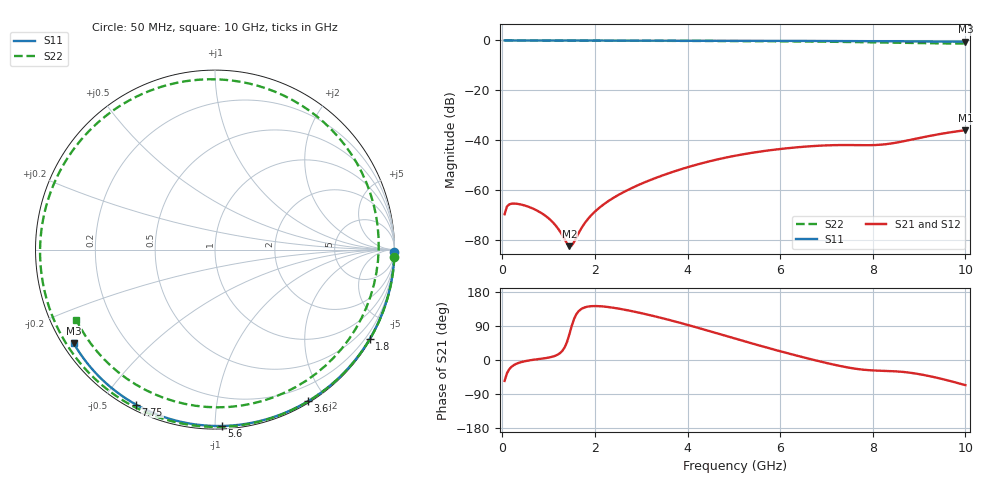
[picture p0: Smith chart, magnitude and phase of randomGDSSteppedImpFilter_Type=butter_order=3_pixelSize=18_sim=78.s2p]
! freq	dB(S11)	phase(S11)	dB(S12)	phase(S12)
!  dB(S21)	phase(S21)	dB(S22)	phase(S22)
!S-par simulation data
#  GHz  S  DB  R 50
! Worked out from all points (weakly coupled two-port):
!   200 points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, 50 MHz to 10 GHz, reference 50 ohm
!   highest |S21| = -35.98 dB at 10 GHz (marker M1); lowest = -82.4 dB at 1.45 GHz (marker M2)
!   lowest |S11| = -0.5 dB at 10 GHz (marker M3), VSWR 35.07, Z = 1.55 - j15 ohm
!   |S11| at or under -10 dB: nowhere
!   |S22| runs from -1.2 to 0.0 dB; largest |S21 - S12| = 0
!   S11 on the Smith chart (normalised r, x): 50 MHz: open; 1.8 GHz: 0.03, -3.73; 3.6 GHz: 0.02, -1.79; 5.6 GHz: 0.02, -1.04; 7.75 GHz: 0.02, -0.61; 10 GHz: 0.03, -0.30
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0.05  -0.00 -0.9  -69.64 -55.2  -69.64 -55.2  -0.00 -2.3
0.2  -0.00 -3.4  -65.42 -17.8  -65.42 -17.8  -0.00 -9.1
0.6  -0.01 -10.1  -66.89 -0.7  -66.89 -0.7  -0.03 -27.2
1  -0.02 -16.8  -71.28 6.3  -71.28 6.3  -0.05 -44.8
1.45  -0.03 -24.2  -82.44 68.3  -82.44 68.3  -0.08 -63.8
1.55  -0.03 -25.9  -80.75 108.6  -80.75 108.6  -0.08 -67.9
1.75  -0.04 -29.2  -74.03 137.4  -74.03 137.4  -0.09 -76.0
1.8  -0.04 -30.0  -72.72 139.6  -72.72 139.6  -0.09 -77.9
2.4  -0.05 -39.7  -63.07 137.8  -63.07 137.8  -0.12 -101.0
3.4  -0.07 -55.4  -54.49 112.1  -54.49 112.1  -0.16 -136.7
3.6  -0.08 -58.5  -53.18 105.8  -53.18 105.8  -0.17 -143.6
4.35  -0.10 -69.8  -49.01 80.6  -49.01 80.6  -0.20 -169.1
5.05  -0.12 -80.0  -46.12 55.7  -46.12 55.7  -0.25 166.2
5.6  -0.14 -87.8  -44.45 36.5  -44.45 36.5  -0.30 145.3
6.7  -0.20 -103.0  -42.34 1.0  -42.34 1.0  -0.44 95.0
7.25  -0.23 -110.4  -41.92 -14.7  -41.92 -14.7  -0.55 62.8
7.75  -0.27 -117.0  -41.97 -25.0  -41.97 -25.0  -0.69 27.8
8.35  -0.32 -124.9  -41.42 -29.1  -41.42 -29.1  -0.89 -20.8
8.75  -0.36 -130.1  -40.08 -32.7  -40.08 -32.7  -1.02 -55.2
9.15  -0.40 -135.3  -38.54 -40.7  -38.54 -40.7  -1.12 -89.0
9.55  -0.44 -140.6  -37.18 -51.7  -37.18 -51.7  -1.19 -120.6
10  -0.50 -146.6  -35.98 -66.3  -35.98 -66.3  -1.24 -153.1
